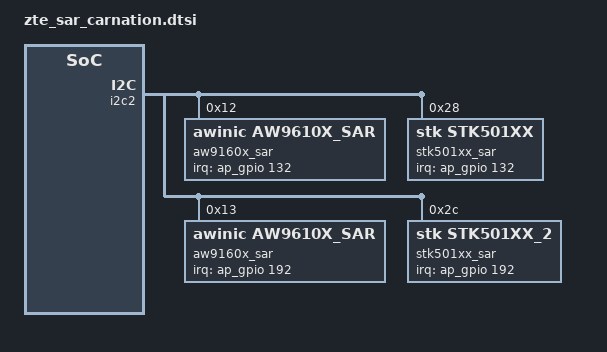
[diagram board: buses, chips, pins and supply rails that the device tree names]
&i2c2 {
	status = "okay";
	aw9160x_sar@12 {
		compatible = "awinic,aw9610x_sar";
		reg = <0x12>;
		sar-num = < 0 >;
		irq-gpio = <&ap_gpio 132 0>;
		chip_name = "AW96103";
		channel_use_flag = <0x1f>;
		status = "okay" ;
	};

	stk501xx_sar@28 {
		compatible = "stk,stk501xx";
		reg = <0x28>;

		stk501xx,irq-gpio = <&ap_gpio 132 0>;
		chip_name = "STK50153";
		status = "okay" ;
	};
	
	aw9160x_sar@13 {
		compatible = "awinic,aw9610x_sar";
		reg = <0x13>;
		sar-num = < 1 >;
		irq-gpio = <&ap_gpio 192 0>;
		chip_name = "AW96103";
		channel_use_flag = <0x1f>;
		status = "okay" ;
	};

	stk501xx_sar@2C {
		compatible = "stk,stk501xx_2";
		reg = <0x2C>;

		stk501xx,irq-gpio = <&ap_gpio 192 0>;
		chip_name = "STK50153";
		status = "okay" ;
	};
};
